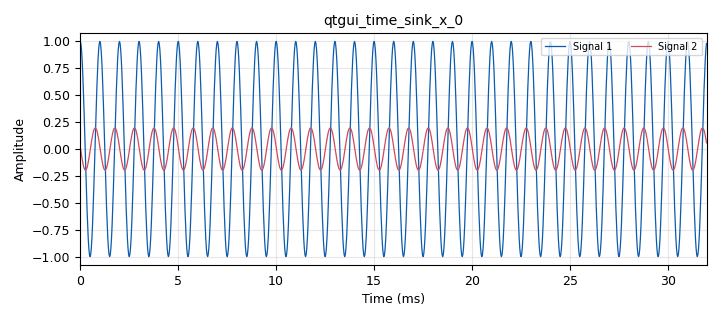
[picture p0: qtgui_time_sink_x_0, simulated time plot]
options:
  parameters:
    author: mateo
    generate_options: qt_gui
    generator_class_name: PythonQtGuiGenerator
    generator_module: gnuradio.grc.workflows.python_qt_gui
    id: untitled
    output_language: python
    title: Not titled yet
  states: {}

blocks:
- name: samp_rate
  id: variable
  parameters:
    value: '32000'
  states: {}
- name: analog_sig_source_x_0
  id: analog_sig_source_x
  parameters:
    amp: '1'
    freq: '1000'
    offset: '0'
    phase: '0'
    samp_rate: samp_rate
    type: float
    waveform: analog.GR_COS_WAVE
  states: {}
- name: blocks_throttle2_0
  id: blocks_throttle2
  parameters:
    samples_per_second: samp_rate
    type: float
  states: {}
- name: epy_block_0
  id: epy_block
  parameters:
    _source_code: |
      import numpy as np
      from gnuradio import gr

      class blk(gr.sync_block):
          def __init__(self):
              gr.sync_block.__init__(
                  self,
                  name='e_Diferenciador',  # Nombre que aparecerá en GRC
                  in_sig=[np.float32],
                  out_sig=[np.float32]
              )
              # Memoria para guardar la última muestra del bloque anterior
              self.x_anterior = 0.0

          def work(self, input_items, output_items):
              x = input_items[0]     # Señal de entrada
              y0 = output_items[0]   # Señal de salida diferenciada
              
              if len(x) == 0:
                  return 0
                  
              # Para calcular la diferencia considerando la transición entre buffers:
              # 1. Unimos el último valor procesado antes con el vector actual de entrada
              x_extended = np.insert(x, 0, self.x_anterior)
              
              # 2. Calculamos la diferencia entre elementos consecutivos (np.diff)
              diff = np.diff(x_extended)
              
              # 3. Actualizamos la memoria con la última muestra de este bloque
              self.x_anterior = x[-1]
              
              # Escribimos el resultado en el buffer de salida
              y0[:] = diff
              
              return len(x)
  states: {}
- name: qtgui_time_sink_x_0
  id: qtgui_time_sink_x
  parameters:
    nconnections: '2'
    size: '1024'
    srate: samp_rate
    type: float
  states: {}

connections:
- [analog_sig_source_x_0, '0', blocks_throttle2_0, '0']
- [analog_sig_source_x_0, '0', qtgui_time_sink_x_0, '0']
- [blocks_throttle2_0, '0', epy_block_0, '0']
- [epy_block_0, '0', qtgui_time_sink_x_0, '1']

metadata:
  file_format: 1
  grc_version: 3.10.12.0
